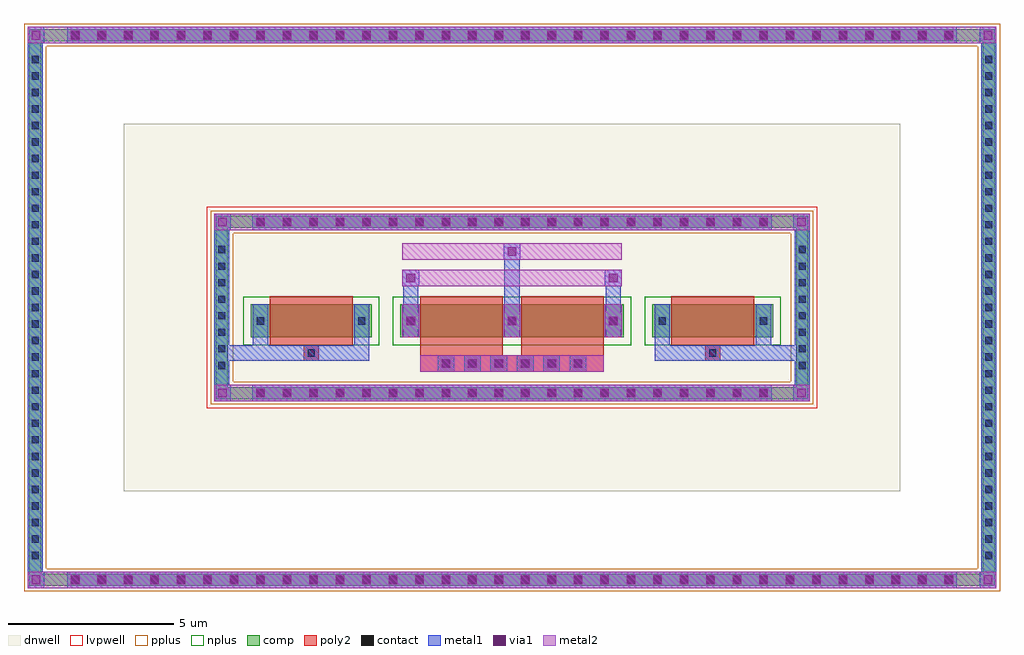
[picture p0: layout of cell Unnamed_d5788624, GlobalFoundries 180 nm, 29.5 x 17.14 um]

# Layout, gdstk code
import gdstk
lib = gdstk.Library(unit=1e-6, precision=5e-09)
def R(c, l, rs):  # rectangles x0, y0, x1, y1
    for r in rs: c.add(gdstk.rectangle(r[:2], r[2:], *l))
def A(c, l, x, y, w, h, nx, ny, dx, dy):  # array of equal rectangles
    R(c, l, [(x+i*dx, y+j*dy, x+i*dx+w, y+j*dy+h) for i in range(nx) for j in range(ny)])
def P(c, l, *ps):  # polygons
    for p in ps: c.add(gdstk.Polygon(p, *l))
dnwell = (12, 0)
comp = (22, 0)
poly2 = (30, 0)
pplus = (31, 0)
nplus = (32, 0)
contact = (33, 0)
metal1 = (34, 0)
via1 = (35, 0)
metal2 = (36, 0)
lvpwell = (204, 0)

unnamed_d5788624 = lib.new_cell('Unnamed_d5788624')
R(unnamed_d5788624, dnwell, [(-11.73,-5.55,11.73,5.55)])
A(unnamed_d5788624, comp, -13.38, -8.41, 0.36, 0.36, 34, 2, 0.8, 16.46)
A(unnamed_d5788624, comp, -14.59, -7.68, 0.36, 0.36, 1, 31, 0, 0.5)
A(unnamed_d5788624, comp, 14.23, -7.68, 0.36, 0.36, 1, 31, 0, 0.5)
A(unnamed_d5788624, comp, -7.78, -2.77, 0.36, 0.36, 20, 2, 0.8, 5.18)
A(unnamed_d5788624, comp, -8.95, -1.93, 0.36, 0.36, 1, 8, 0, 0.5)
A(unnamed_d5788624, comp, 8.59, -1.93, 0.36, 0.36, 1, 8, 0, 0.5)
R(unnamed_d5788624, comp, [(-13.38,-8.41,13.38,-8.05), (-14.59,-7.68,-14.23,7.68), (14.23,-7.68,14.59,7.68), (-7.78,-2.77,7.78,-2.41), (-8.95,-1.93,-8.59,1.93), (8.59,-1.93,8.95,1.93), (-7.9,-0.905,-4.24,0.095), (-3.38,-0.905,3.38,0.095), (4.24,-0.905,7.9,0.095), (-7.78,2.41,7.78,2.77), (-13.38,8.05,13.38,8.41)])
P(unnamed_d5788624, comp, [(14.59,8.41),(-14.59,8.41),(-14.59,-8.05),(-14.23,-8.05),(-14.23,8.05),(14.23,8.05),(14.23,-8.05),(-14.23,-8.05),(-14.59,-8.05),(-14.59,-8.41),(14.59,-8.41)],
  [(8.95,2.77),(-8.95,2.77),(-8.95,-2.41),(-8.59,-2.41),(-8.59,2.41),(8.59,2.41),(8.59,-2.41),(-8.59,-2.41),(-8.95,-2.41),(-8.95,-2.77),(8.95,-2.77)])
A(unnamed_d5788624, poly2, -2.18, -1.875, 0.36, 0.36, 6, 1, 0.8, 0)
R(unnamed_d5788624, poly2, [(-2.78,-1.945,2.78,-1.445), (-6.3,-1.605,-5.84,-1.145), (5.84,-1.605,6.3,-1.145), (-6.25,-1.555,-5.89,-1.195), (5.89,-1.555,6.25,-1.195), (-2.78,-1.445,-0.28,-1.145), (0.28,-1.445,2.78,-1.145), (-7.32,-1.145,-4.82,0.335), (-2.78,-1.145,-0.28,0.335), (0.28,-1.145,2.78,0.335), (4.82,-1.145,7.32,0.335)])
P(unnamed_d5788624, pplus, [(14.75,8.57),(-14.75,8.57),(-14.75,-7.89),(-14.07,-7.89),(-14.07,7.89),(14.07,7.89),(14.07,-7.89),(-14.07,-7.89),(-14.75,-7.89),(-14.75,-8.57),(14.75,-8.57)],
  [(9.11,2.93),(-9.11,2.93),(-9.11,-2.25),(-8.43,-2.25),(-8.43,2.25),(8.43,2.25),(8.43,-2.25),(-8.43,-2.25),(-9.11,-2.25),(-9.11,-2.93),(9.11,-2.93)])
R(unnamed_d5788624, nplus, [(-8.13,-1.135,-4.01,0.325), (-3.61,-1.135,3.61,0.325), (4.01,-1.135,8.13,0.325)])
A(unnamed_d5788624, contact, -13.31, -8.34, 0.22, 0.22, 34, 2, 0.8, 16.46)
A(unnamed_d5788624, contact, -14.52, -7.61, 0.22, 0.22, 1, 31, 0, 0.5)
A(unnamed_d5788624, contact, 14.3, -7.61, 0.22, 0.22, 1, 31, 0, 0.5)
A(unnamed_d5788624, contact, -7.71, -2.7, 0.22, 0.22, 20, 2, 0.8, 5.18)
A(unnamed_d5788624, contact, -8.88, -1.86, 0.22, 0.22, 1, 8, 0, 0.5)
A(unnamed_d5788624, contact, 8.66, -1.86, 0.22, 0.22, 1, 8, 0, 0.5)
A(unnamed_d5788624, contact, -2.11, -1.805, 0.22, 0.22, 6, 1, 0.8, 0)
A(unnamed_d5788624, contact, -3.17, -0.515, 0.22, 0.22, 3, 1, 3.06, 0)
R(unnamed_d5788624, contact, [(-6.18,-1.485,-5.96,-1.265), (5.96,-1.485,6.18,-1.265), (-7.71,-0.515,-7.49,-0.295), (-4.65,-0.515,-4.43,-0.295), (4.43,-0.515,4.65,-0.295), (7.49,-0.515,7.71,-0.295)])
A(unnamed_d5788624, metal1, -13.45, -8.48, 0.5, 0.5, 34, 2, 0.8, 16.46)
A(unnamed_d5788624, metal1, -14.64, -7.73, 0.46, 0.46, 1, 31, 0, 0.5)
A(unnamed_d5788624, metal1, 14.18, -7.73, 0.46, 0.46, 1, 31, 0, 0.5)
A(unnamed_d5788624, metal1, -7.85, -2.84, 0.5, 0.5, 20, 2, 0.8, 5.18)
A(unnamed_d5788624, metal1, -9, -1.98, 0.46, 0.46, 1, 8, 0, 0.5)
A(unnamed_d5788624, metal1, 8.54, -1.98, 0.46, 0.46, 1, 8, 0, 0.5)
A(unnamed_d5788624, metal1, -2.25, -1.945, 0.5, 0.5, 6, 1, 0.8, 0)
A(unnamed_d5788624, metal1, -3.29, -0.905, 0.46, 1, 3, 1, 3.06, 0)
A(unnamed_d5788624, metal1, -3.29, -0.635, 0.46, 0.46, 3, 1, 3.06, 0)
R(unnamed_d5788624, metal1, [(-14.64,-8.48,-14.14,-7.98), (-14.64,-8.48,-14.14,-7.98), (-14.64,-8.48,-14.18,-8.05), (-13.45,-8.48,13.45,-7.98), (14.14,-8.48,14.64,-7.98), (14.14,-8.48,14.64,-7.98), (14.18,-8.48,14.64,-8.05), (-14.64,-8.05,-14.18,8.05), (14.18,-8.05,14.64,8.05), (-9,-2.84,-8.5,-2.34), (-9,-2.84,-8.5,-2.34), (-9,-2.84,-8.54,-2.41), (-7.85,-2.84,7.85,-2.34), (8.5,-2.84,9,-2.34), (8.5,-2.84,9,-2.34), (8.54,-2.84,9,-2.41), (-9,-2.41,-8.54,2.41), (8.54,-2.41,9,2.41), (-9,-1.605,-6.3,-1.145), (-7.83,-1.605,-6.3,-1.145), (-7.83,-1.605,-7.37,-0.905), (-6.3,-1.605,-5.84,-1.145), (-5.84,-1.605,-4.31,-1.145), (-4.77,-1.605,-4.31,-0.905), (4.31,-1.605,5.84,-1.145), (4.31,-1.605,4.77,-0.905), (5.84,-1.605,6.3,-1.145), (5.84,-1.605,9,-1.145), (6.3,-1.605,7.83,-1.145), (7.37,-1.605,7.83,-0.905), (-7.83,-0.905,-7.37,0.095), (-4.77,-0.905,-4.31,0.095), (4.31,-0.905,4.77,0.095), (7.37,-0.905,7.83,0.095), (-3.31,-0.655,-2.81,-0.155), (-3.31,-0.655,-2.81,-0.155), (-0.25,-0.655,0.25,-0.155), (-0.25,-0.655,0.25,-0.155), (2.81,-0.655,3.31,-0.155), (2.81,-0.655,3.31,-0.155), (-7.83,-0.635,-7.37,-0.175), (-4.77,-0.635,-4.31,-0.175), (4.31,-0.635,4.77,-0.175), (7.37,-0.635,7.83,-0.175), (-3.29,0.095,-2.83,1.145), (-0.23,0.095,0.23,1.945), (2.83,0.095,3.29,1.145), (-3.31,0.645,-2.81,1.145), (2.81,0.645,3.31,1.145), (-0.25,1.445,0.25,1.945), (-9,2.34,-8.5,2.84), (-9,2.34,-8.5,2.84), (-7.85,2.34,7.85,2.84), (8.5,2.34,9,2.84), (8.5,2.34,9,2.84), (-9,2.41,-8.54,2.84), (8.54,2.41,9,2.84), (-14.64,7.98,-14.14,8.48), (-14.64,7.98,-14.14,8.48), (-13.45,7.98,13.45,8.48), (14.14,7.98,14.64,8.48), (14.14,7.98,14.64,8.48), (-14.64,8.05,-14.18,8.48), (14.18,8.05,14.64,8.48)])
A(unnamed_d5788624, via1, -13.33, -8.36, 0.26, 0.26, 34, 2, 0.8, 16.46)
A(unnamed_d5788624, via1, -7.73, -2.72, 0.26, 0.26, 20, 2, 0.8, 5.18)
A(unnamed_d5788624, via1, -2.13, -1.825, 0.26, 0.26, 6, 1, 0.8, 0)
A(unnamed_d5788624, via1, -3.19, -0.535, 0.26, 0.26, 3, 1, 3.06, 0)
R(unnamed_d5788624, via1, [(-14.52,-8.36,-14.26,-8.1), (14.26,-8.36,14.52,-8.1), (-8.88,-2.72,-8.62,-2.46), (8.62,-2.72,8.88,-2.46), (-3.19,0.765,-2.93,1.025), (2.93,0.765,3.19,1.025), (-0.13,1.565,0.13,1.825), (-8.88,2.46,-8.62,2.72), (8.62,2.46,8.88,2.72), (-14.52,8.1,-14.26,8.36), (14.26,8.1,14.52,8.36)])
A(unnamed_d5788624, metal2, -13.45, -8.48, 0.5, 0.5, 34, 2, 0.8, 16.46)
A(unnamed_d5788624, metal2, -7.85, -2.84, 0.5, 0.5, 20, 2, 0.8, 5.18)
A(unnamed_d5788624, metal2, -2.25, -1.945, 0.5, 0.5, 6, 1, 0.8, 0)
A(unnamed_d5788624, metal2, -3.31, -0.905, 0.5, 1, 3, 1, 3.06, 0)
A(unnamed_d5788624, metal2, -3.31, -0.655, 0.5, 0.5, 3, 1, 3.06, 0)
R(unnamed_d5788624, metal2, [(-14.64,-8.48,-14.14,-7.98), (-14.64,-8.48,-14.14,-7.98), (-14.64,-8.48,-14.23,-7.98), (-14.23,-8.48,14.23,-7.98), (14.14,-8.48,14.64,-7.98), (14.14,-8.48,14.64,-7.98), (14.23,-8.48,14.64,-7.98), (-9,-2.84,-8.5,-2.34), (-9,-2.84,-8.5,-2.34), (-9,-2.84,-8.59,-2.34), (-8.59,-2.84,8.59,-2.34), (8.5,-2.84,9,-2.34), (8.5,-2.84,9,-2.34), (8.59,-2.84,9,-2.34), (-2.78,-1.945,2.78,-1.445), (-3.31,0.645,-2.81,1.145), (-3.31,0.645,3.31,1.145), (2.81,0.645,3.31,1.145), (-3.31,1.445,3.31,1.945), (-0.25,1.445,0.25,1.945), (-9,2.34,-8.5,2.84), (-9,2.34,-8.5,2.84), (-9,2.34,-8.59,2.84), (-8.59,2.34,8.59,2.84), (8.5,2.34,9,2.84), (8.5,2.34,9,2.84), (8.59,2.34,9,2.84), (-14.64,7.98,-14.14,8.48), (-14.64,7.98,-14.14,8.48), (-14.64,7.98,-14.23,8.48), (-14.23,7.98,14.23,8.48), (14.14,7.98,14.64,8.48), (14.14,7.98,14.64,8.48), (14.23,7.98,14.64,8.48)])
R(unnamed_d5788624, lvpwell, [(-9.23,-3.05,9.23,3.05)])

lib.write_gds('Unnamed_d5788624.gds')
